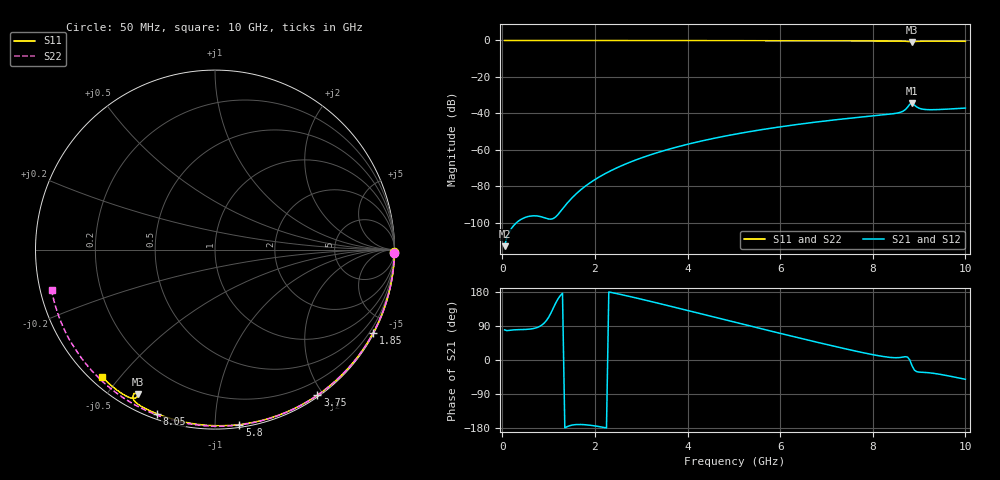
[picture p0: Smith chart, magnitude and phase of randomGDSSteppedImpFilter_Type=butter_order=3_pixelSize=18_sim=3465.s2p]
! freq	dB(S11)	phase(S11)	dB(S12)	phase(S12)
!  dB(S21)	phase(S21)	dB(S22)	phase(S22)
!S-par simulation data
#  GHz  S  DB  R 50
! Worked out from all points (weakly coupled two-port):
!   200 points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, 50 MHz to 10 GHz, reference 50 ohm
!   highest |S21| = -34.44 dB at 8.85 GHz (marker M1); lowest = -112.8 dB at 50 MHz (marker M2)
!   lowest |S11| = -0.8 dB at 8.85 GHz (marker M3), VSWR 21.93, Z = 3.09 - j29.8 ohm
!   |S11| at or under -10 dB: nowhere
!   |S22| runs from -0.6 to 0.0 dB; largest |S21 - S12| = 0
!   S11 on the Smith chart (normalised r, x): 50 MHz: open; 1.85 GHz: 0.04, -4.05; 3.75 GHz: 0.02, -1.93; 5.8 GHz: 0.02, -1.15; 8.05 GHz: 0.02, -0.70; 10 GHz: 0.03, -0.45
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0.05  -0.00 -0.8  -112.78 79.5  -112.78 79.5  -0.00 -0.9
0.85  -0.02 -12.9  -96.73 91.9  -96.73 91.9  -0.02 -16.0
1.75  -0.03 -26.3  -80.73 -170.5  -80.73 -170.5  -0.04 -32.6
1.85  -0.04 -27.7  -78.83 -171.5  -78.83 -171.5  -0.04 -34.4
2.15  -0.04 -32.1  -74.01 -177.0  -74.01 -177.0  -0.05 -39.9
2.5  -0.05 -37.2  -69.52 174.5  -69.52 174.5  -0.06 -46.1
2.9  -0.06 -42.9  -65.34 163.4  -65.34 163.4  -0.07 -53.2
3.4  -0.07 -50.0  -61.08 148.8  -61.08 148.8  -0.08 -61.9
3.75  -0.07 -54.9  -58.55 138.3  -58.55 138.3  -0.09 -67.9
4.4  -0.09 -63.7  -54.57 118.6  -54.57 118.6  -0.11 -78.7
5.05  -0.11 -72.4  -51.28 98.9  -51.28 98.9  -0.14 -89.3
5.8  -0.14 -82.1  -48.11 76.3  -48.11 76.3  -0.17 -101.2
6.7  -0.18 -93.3  -44.98 49.7  -44.98 49.7  -0.23 -115.1
8.05  -0.26 -109.6  -41.25 12.9  -41.25 12.9  -0.33 -135.7
8.35  -0.29 -113.3  -40.47 7.2  -40.47 7.2  -0.36 -140.2
8.65  -0.37 -117.5  -38.83 7.8  -38.83 7.8  -0.40 -144.8
8.7  -0.42 -118.4  -37.99 8.7  -37.99 8.7  -0.40 -145.6
8.8  -0.73 -119.4  -34.96 -0.1  -34.96 -0.1  -0.41 -147.0
8.85  -0.79 -118.2  -34.44 -15.7  -34.44 -15.7  -0.41 -147.8
9  -0.46 -119.1  -37.14 -31.9  -37.14 -31.9  -0.43 -150.2
9.15  -0.41 -121.3  -37.89 -33.0  -37.89 -33.0  -0.44 -152.5
10  -0.45 -131.4  -37.07 -51.0  -37.07 -51.0  -0.56 -166.0
